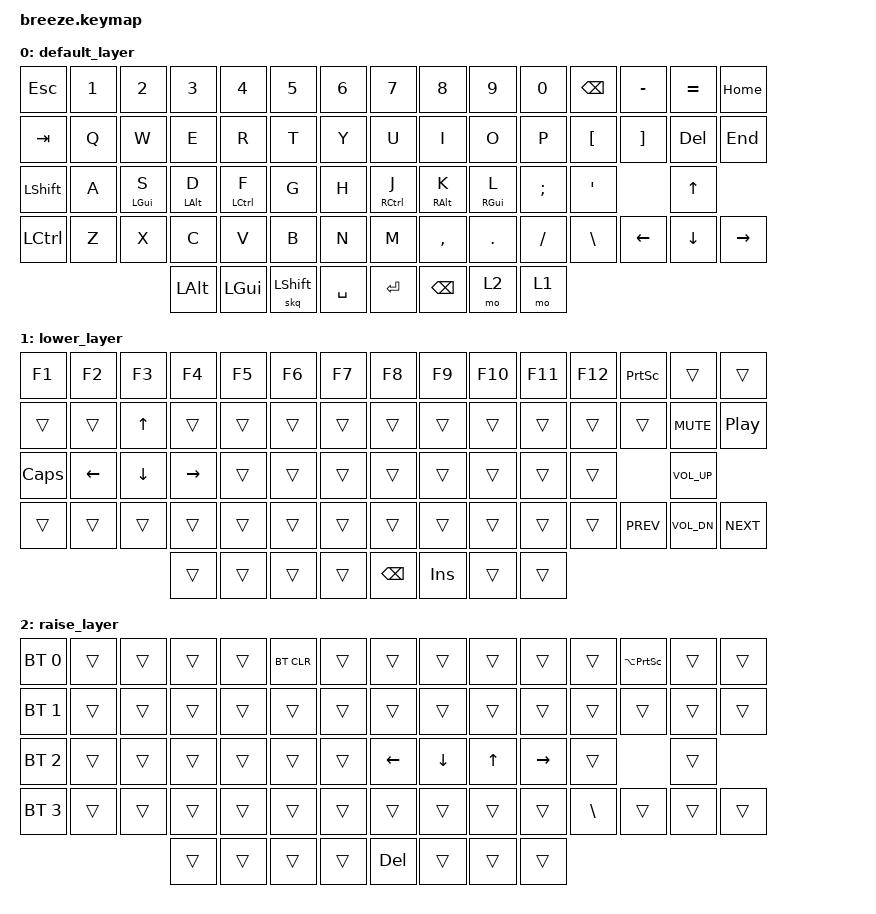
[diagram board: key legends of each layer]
/*
 * Copyright (c) 2022 The ZMK Contributors
 *
 * SPDX-License-Identifier: MIT
 */

#include <behaviors.dtsi>
#include <dt-bindings/zmk/keys.h>
#include <dt-bindings/zmk/bt.h>
#include <dt-bindings/zmk/ext_power.h>

/ {

    behaviors {
		skq: sticky_key_quick_release {
			compatible = "zmk,behavior-sticky-key";
			label = "STICKY_KEY_QUICK_RELEASE";
			#binding-cells = <1>;
			bindings = <&kp>;
			release-after-ms = <2000>;
			quick-release;
		};
		
        hm: homerow_mods {
            compatible = "zmk,behavior-hold-tap";
            label = "HOMEROW_MODS";
            #binding-cells = <2>;
            tapping-term-ms = <300>;
            quick_tap_ms = <0>;
            flavor = "tap-preferred";
            bindings = <&kp>, <&kp>;
        };
        
        td: tapdance {
            compatible = "zmk,behavior-hold-tap";
            label = "TAPDANCE";
            #binding-cells = <2>;
            tapping-term-ms = <200>;
            quick_tap_ms = <0>;
            flavor = "tap-preferred";
            bindings = <&kp>, <&kp>;
        };
    };

    keymap {
        compatible = "zmk,keymap";

        default_layer {

// Ref: https://zmkfirmware.dev/docs/codes/

            // ---------------------------------------------------------------                      ----------------------------------------------------------------------------------
            // |   ESC    |   1  |     2    |     3    |     4     |     5    |                      |    6   |     7     |     8    |     9    |    0   |  BSPC  | |   -/_   |   =/+   |   HOME  |
            // |   TAB   |   Q  |     W    |     E    |     R     |     T    |                      |    Y   |     U     |     I    |     O    |    P   |    [   | |    ]    |   DEL   |   END   |
            // |  SHIFT  |   A  | S (LGUI) | D (LALT) | F (LCTRL) |     G    |                      |    H   | J (RCTRL) | K (RALT) | L (RGUI) |    ;   |    '   | |         |   UP    |         |
            // |   CTRL  |   Z  |     X    |     C    |     V     |     B    |                      |    N   |     M     |     ,    |     .    |    /   |    \   | |    L    |   DN    |    R    |
            //                             |    ALT   |    GUI    |    shift   |   SPACE |    | ENTER |  BSPC  |   RAISE   |   LOWER  |
            bindings = <
                &kp ESC &kp N1 &kp N2     &kp N3     &kp N4      &kp N5                            &kp N6   &kp N7      &kp N8     &kp N9     &kp N0   &kp BSPC   &kp MINUS &kp EQUAL &kp HOME
                &kp TAB   &kp Q  &kp W      &kp E      &kp R       &kp T                             &kp Y    &kp U       &kp I      &kp O      &kp P    &kp LBKT   &kp RBKT  &kp DEL   &kp END
                &kp LSHFT &kp A  &hm LGUI S &hm LALT D &hm LCTRL F &kp G                             &kp H    &hm RCTRL J &hm RALT K &hm RGUI L &kp SEMI &kp APOS             &kp UP
                &kp LCTRL &kp Z  &kp X      &kp C      &kp V       &kp B                             &kp N    &kp M       &kp COMMA  &kp DOT    &kp FSLH &kp BSLH   &kp LEFT  &kp DOWN  &kp RIGHT
                                            &kp LALT    &kp LGUI    &skq LSHFT &kp SPACE      &kp RET &kp BSPC &mo 2       &mo 1
            >;
        };

        lower_layer {
            // -------------------------------------------------------------------------------------------------------------------------------------------------------------------
            // |   F1   |    F2  |    F3  |    F4   |  F5  |  F6  |                     |   F7  |  F8  |  F9  |  F10  |  F11  |  F12  | |   PSCRN  |            |                |
            // |        |        |    ↑   |         |      |      |                     |       |      |      |       |       |       | |          |    Mute    |      Play      |
            // |  CAPS  |    ←   |    ↓   |    →    |      |      |                     |       |      |      |       |       |       | |          |    Vol+    |                |
            // |        |        |        |         |      |      |                     |       |      |      |       |       |       | |   Prev   |    Vol-    |      Next      |
            //                            |         |      |      |      |     |  BSPC  |  INS  |      |      |
            bindings = <
                &kp F1   &kp F2   &kp F3   &kp F4    &kp F5 &kp F6                       &kp F7  &kp F8 &kp F9 &kp F10 &kp F11 &kp F12   &kp PSCRN  &trans       &trans
                &trans   &trans   &kp UP   &trans    &trans &trans                       &trans  &trans &trans &trans  &trans  &trans    &trans     &kp C_MUTE   &kp C_PLAY_PAUSE
                &kp CAPS &kp LEFT &kp DOWN &kp RIGHT &trans &trans                       &trans  &trans &trans &trans  &trans  &trans               &kp C_VOL_UP
                &trans   &trans   &trans   &trans    &trans &trans                       &trans  &trans &trans &trans  &trans  &trans    &kp C_PREV &kp C_VOL_DN &kp C_NEXT
                                           &trans    &trans &trans &trans       &kp BSPC &kp INS &trans &trans
            >;
        };

        raise_layer {
            // ---------------------------------------------------------------------------------------------------------------------------------------
            // |     BT1    |      |      |      |      |  BT_CLR  |                 |      |        |        |      |         |        | |   LA PSCRN  |      |      |
            // |     BT2    |      |      |      |      |          |                 |      |        |        |      |         |        | |             |      |      |
            // |     BT3    |      |      |      |      |          |                 |      |   <-   |    ↓   |   ↑  |    →    |        |               |      |
            // |     BT4    |      |      |      |      |          |                 |      |        |        |      |         |    \   | |             |      |      |
            //                            |      |      |          |      |  |  DEL  |      |   DEL  |        |      |         |
            bindings = <
                &bt BT_SEL 0 &trans &trans &trans &trans &bt BT_CLR                   &trans &trans   &trans   &trans &trans    &trans     &kp LA(PSCRN) &trans &trans
                &bt BT_SEL 1 &trans &trans &trans &trans &trans                       &trans &trans   &trans   &trans &trans    &trans     &trans        &trans &trans
                &bt BT_SEL 2 &trans &trans &trans &trans &trans                       &trans &kp LEFT &kp DOWN &kp UP &kp RIGHT &trans                   &trans
                &bt BT_SEL 3 &trans &trans &trans &trans &trans                       &trans &trans   &trans   &trans &trans    &kp BSLH   &trans        &trans &trans
                                           &trans &trans &trans     &trans    &kp DEL &trans &trans   &trans
            >;
        };
    };
};
